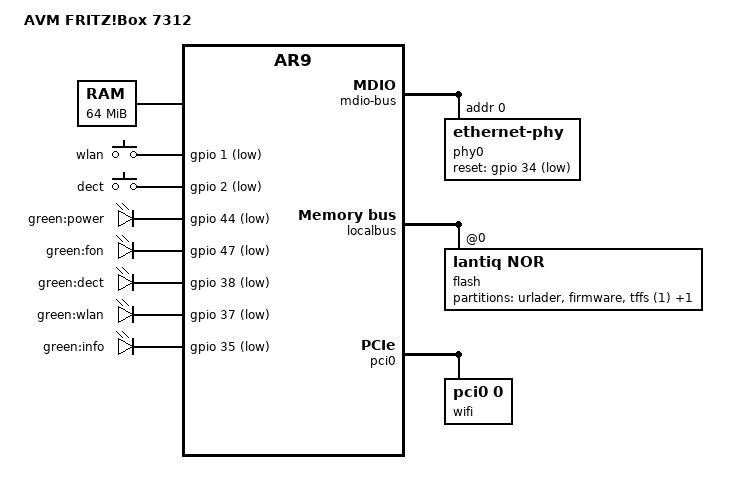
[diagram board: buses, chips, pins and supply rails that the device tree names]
#include "ar9.dtsi"

#include <dt-bindings/input/input.h>
#include <dt-bindings/mtd/partitions/uimage.h>

/ {
	compatible = "avm,fritz7312", "lantiq,xway", "lantiq,ar9";
	model = "AVM FRITZ!Box 7312";

	chosen {
		bootargs = "console=ttyLTQ0,115200";
	};

	aliases {
		led-boot = &power;
		led-failsafe = &power;
		led-running = &power;
		led-upgrade = &power;

		led-dsl = &info_green;
		led-wifi = &wlan;
	};

	memory@0 {
		device_type = "memory";
		reg = <0x0 0x4000000>;
	};

	keys {
		compatible = "gpio-keys-polled";
		poll-interval = <100>;

		wlan {
			label = "wlan";
			gpios = <&gpio 1 GPIO_ACTIVE_LOW>;
			linux,code = <KEY_RFKILL>;
		};
		dect {
			label = "dect";
			gpios = <&gpio 2 GPIO_ACTIVE_LOW>;
			linux,code = <KEY_PHONE>;
		};
	};

	leds {
		compatible = "gpio-leds";

		power: power {
			label = "green:power";
			gpios = <&gpio 44 GPIO_ACTIVE_LOW>;
			default-state = "keep";
		};
		voice {
			label = "green:fon";
			gpios = <&gpio 47 GPIO_ACTIVE_LOW>;
		};
		dect {
			label = "green:dect";
			gpios = <&gpio 38 GPIO_ACTIVE_LOW>;
		};
		wlan: wlan {
			label = "green:wlan";
			gpios = <&gpio 37 GPIO_ACTIVE_LOW>;
		};
		info_green: info_green {
			label = "green:info";
			gpios = <&gpio 35 GPIO_ACTIVE_LOW>;
		};
	};
};

&gpio {
	pinctrl-names = "default";
	pinctrl-0 = <&state_default>;

	state_default: pinmux {
		ar8030-intr {
			lantiq,groups = "exin3";
			lantiq,function = "exin";
			lantiq,pull = <2>;
			lantiq,output = <0>;
		};
		ar8030-clk {
			lantiq,groups = "clkout2";
			lantiq,output = <1>;
			lantiq,open-drain;
		};
		ar8030-rst {
			lantiq,pins = "io34";
			lantiq,output = <1>;
			lantiq,pull = <2>;
			lantiq,open-drain;
		};
	};
};

&gsw {
	phy-mode = "rmii";
	phy-handle = <&phy0>;
	nvmem-cells = <&macaddr_ath9k_cal_a91>;
	nvmem-cell-names = "mac-address";
	mac-address-increment = <(-2)>;

	mdio-bus {
		#address-cells = <1>;
		#size-cells = <0>;

		phy0: ethernet-phy@0 {
			reg = <0>;
			reset-gpios = <&gpio 34 GPIO_ACTIVE_LOW>;
			max-speed = <100>;
		};
	};
};

&localbus {
	flash@0 {
		compatible = "lantiq,nor";
		bank-width = <2>;
		reg = <0 0x0 0x1000000>;

		partitions {
			compatible = "fixed-partitions";
			#address-cells = <1>;
			#size-cells = <1>;

			ath9k_cal: partition@0 {
				label = "urlader";
				reg = <0x00000 0x20000>;
				read-only;
			};

			partition@20000 {
				label = "firmware";
				compatible = "openwrt,uimage", "denx,uimage";
				reg = <0x20000 0xf60000>;
				openwrt,ih-magic = <IH_MAGIC_OKLI>;
				openwrt,offset = <0x11000>;
			};

			partition@f80000 {
				label = "tffs (1)";
				reg = <0xf80000 0x40000>;
				read-only;
			};

			partition@fc0000 {
				label = "tffs (2)";
				reg = <0xfc0000 0x40000>;
				read-only;
			};
		};
	};
};

&pci0 {
	status = "okay";

	pinctrl-0 = <&pci_gnt1_pins>, <&pci_gnt2_pins>,
		    <&pci_gnt3_pins>, <&pci_gnt4_pins>,
		    <&pci_req1_pins>, <&pci_req2_pins>,
		    <&pci_req4_pins>;
	pinctrl-names = "default";

	req-mask = <0xf>;
	gpio-reset = <&gpio 21 GPIO_ACTIVE_LOW>;

	wifi@0,0 {
		compatible = "pci0,0";
		reg = <0x7000 0 0 0 0>;
		qca,no-eeprom; /* load from ath9k-eeprom-pci-0000:00:0e.0.bin */
	};
};

&ath9k_cal {
	compatible = "nvmem-cells";
	#address-cells = <1>;
	#size-cells = <1>;

	macaddr_ath9k_cal_a91: macaddr@a91 {
		reg = <0xa91 0x6>;
	};
};
